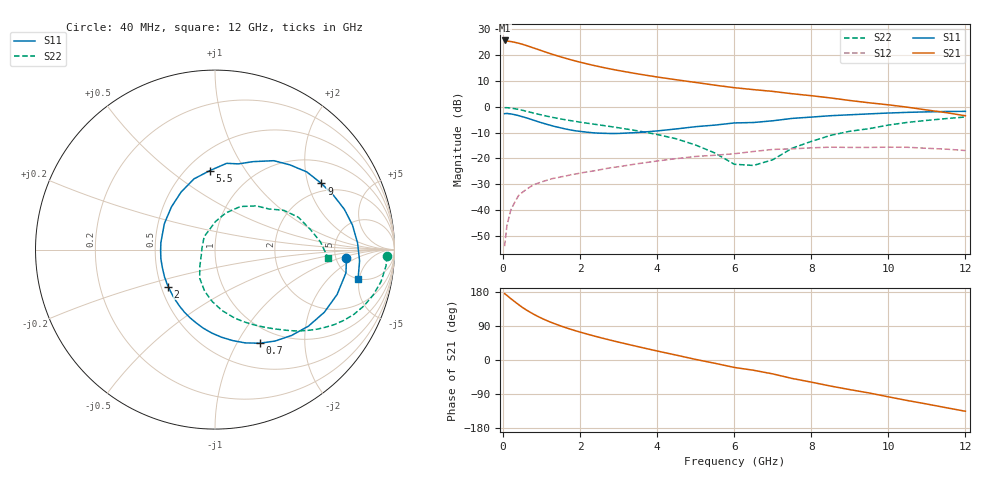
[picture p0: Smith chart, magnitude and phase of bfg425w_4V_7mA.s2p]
! Filename: 47bfg425.001
! BFG425W Field C1
! V1=8.277E-001V,V2=4.000E+000V, I1=7.557E-005A, I2=7.010E-003A
# GHz  S  MA  R 50
!  S11  S21  S12  S22
!Freq(GHz)  Mag  Ang  Mag  Ang  Mag  Ang  Mag  Ang
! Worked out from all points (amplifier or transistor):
!   44 points, 40 MHz to 12 GHz, reference 50 ohm
!   highest |S21| = 25.6 dB at 40 MHz (marker M1)
!   |S21| within 3 dB of that: start of sweep to 811.3 MHz
!   unconditionally stable (mu >= 1): start of sweep to 41.25 MHz; 2.166 GHz to end of sweep
!   at 700 MHz: K = 0.45, MSG = 27.1 dB, |S12| = -31.1 dB
!   at 2.4 GHz: K = 1.06, MAG = 18.7 dB, |S12| = -24.7 dB
!   at 12 GHz: K = 1.44, MAG = 2.8 dB, |S12| = -17.0 dB
!   S11 on the Smith chart (normalised r, x): 40 MHz: 6.24, -1.30; 700 MHz: 0.80, -1.25; 2 GHz: 0.54, -0.25; 5.5 GHz: 0.64, +0.70; 9 GHz: 1.70, +2.44; 12 GHz: 4.92, -4.83
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0.04  0.734 -3.8  19.16 175.2  0.002 40.5  0.959 -2.1
0.2  0.725 -20.1  18.26 162.0  0.01 71.8  0.942 -10.9
0.3  0.702 -29.8  17.66 154.2  0.014 69.4  0.917 -16.0
0.4  0.673 -39.3  16.97 146.4  0.019 65.4  0.887 -20.7
0.5  0.641 -48.2  16.2 138.9  0.022 62.2  0.854 -25.0
0.6  0.61 -56.6  15.32 132.3  0.025 58.9  0.819 -28.8
0.7  0.578 -64.5  14.47 126.3  0.028 55.9  0.785 -32.2
0.8  0.546 -72.1  13.66 120.5  0.031 53.5  0.751 -35.2
1  0.489 -85.9  12.14 110.2  0.035 49.6  0.692 -40.5
1.3  0.422 -104.2  10.23 97.2  0.041 45.3  0.619 -46.9
1.6  0.374 -121.2  8.756 86.2  0.045 42.3  0.562 -52.1
2  0.333 -141.6  7.272 73.6  0.052 39.3  0.503 -58.6
2.2  0.32 -151.5  6.69 67.9  0.055 37.9  0.478 -61.8
3  0.304 172.5  5.015 47.1  0.069 31.7  0.391 -74.8
3.5  0.317 152.9  4.312 35.2  0.079 27.0  0.341 -83.5
4.5  0.372 120.6  3.322 12.8  0.099 15.3  0.239 -103.9
5.5  0.441 93.8  2.611 -8.7  0.115 1.6  0.127 -131.8
6.5  0.495 74.8  2.143 -27.1  0.136 -8.6  0.073 172.9
8.5  0.67 40.2  1.479 -68.7  0.165 -45.0  0.279 59.4
9  0.698 31.9  1.32 -78.2  0.163 -53.3  0.335 46.6
10.5  0.778 10.1  0.978 -107.0  0.164 -80.7  0.498 21.3
12  0.814 -11.7  0.668 -135.2  0.142 -111.6  0.633 -4.5
